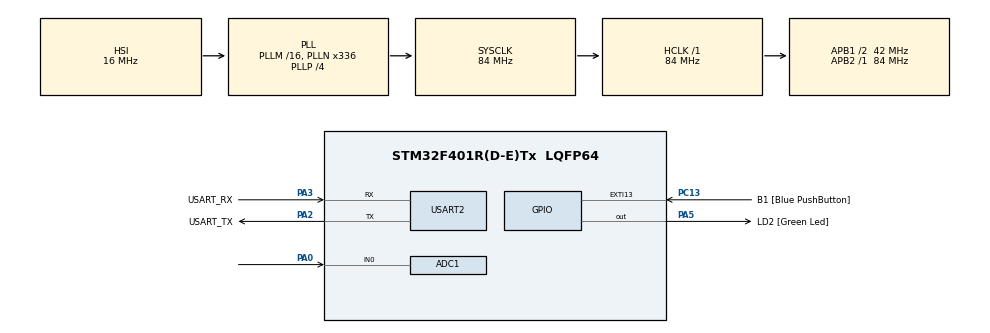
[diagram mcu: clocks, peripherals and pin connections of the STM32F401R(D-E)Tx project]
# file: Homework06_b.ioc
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ADC1.Channel-0\#ChannelRegularConversion=ADC_CHANNEL_0
ADC1.DMAContinuousRequests=ENABLE
ADC1.ExternalTrigConv=ADC_EXTERNALTRIGCONV_T2_TRGO
ADC1.NbrOfConversionFlag=1
ADC1.Rank-0\#ChannelRegularConversion=1
ADC1.SamplingTime-0\#ChannelRegularConversion=ADC_SAMPLETIME_480CYCLES
ADC1.master=1
Dma.ADC1.0.Direction=DMA_PERIPH_TO_MEMORY
Dma.ADC1.0.FIFOMode=DMA_FIFOMODE_DISABLE
Dma.ADC1.0.Instance=DMA2_Stream0
Dma.ADC1.0.MemDataAlignment=DMA_MDATAALIGN_HALFWORD
Dma.ADC1.0.MemInc=DMA_MINC_ENABLE
Dma.ADC1.0.Mode=DMA_CIRCULAR
Dma.ADC1.0.PeriphDataAlignment=DMA_PDATAALIGN_HALFWORD
Dma.ADC1.0.PeriphInc=DMA_PINC_DISABLE
Dma.ADC1.0.Priority=DMA_PRIORITY_LOW
Dma.Request0=ADC1
Dma.Request1=USART2_TX
Dma.USART2_TX.1.Direction=DMA_MEMORY_TO_PERIPH
Dma.USART2_TX.1.FIFOMode=DMA_FIFOMODE_DISABLE
Dma.USART2_TX.1.Instance=DMA1_Stream6
Dma.USART2_TX.1.MemDataAlignment=DMA_MDATAALIGN_BYTE
Dma.USART2_TX.1.MemInc=DMA_MINC_ENABLE
Dma.USART2_TX.1.Mode=DMA_NORMAL
Dma.USART2_TX.1.PeriphDataAlignment=DMA_PDATAALIGN_BYTE
Dma.USART2_TX.1.PeriphInc=DMA_PINC_DISABLE
Dma.USART2_TX.1.Priority=DMA_PRIORITY_LOW
Mcu.Family=STM32F4
Mcu.Name=STM32F401R(D-E)Tx
Mcu.Package=LQFP64
NVIC.ADC_IRQn=true\:0\:0\:false\:false\:true\:true\:true\:true
NVIC.DMA1_Stream6_IRQn=true\:0\:0\:false\:false\:true\:false\:true\:true
NVIC.DMA2_Stream0_IRQn=true\:0\:0\:false\:false\:true\:false\:true\:true
NVIC.PriorityGroup=NVIC_PRIORITYGROUP_4
NVIC.USART2_IRQn=true\:0\:0\:false\:false\:true\:true\:true\:true
PA0-WKUP.Signal=ADCx_IN0
PA13.GPIO_Label=TMS
PA13.Mode=Trace_Asynchronous_SW
PA13.Signal=SYS_JTMS-SWDIO
PA14.GPIO_Label=TCK
PA14.Mode=Trace_Asynchronous_SW
PA14.Signal=SYS_JTCK-SWCLK
PA2.GPIO_Label=USART_TX
PA2.GPIO_Mode=GPIO_MODE_AF_PP
PA2.GPIO_PuPd=GPIO_NOPULL
PA2.GPIO_Speed=GPIO_SPEED_FREQ_LOW
PA2.Mode=Asynchronous
PA2.Signal=USART2_TX
PA3.GPIO_Label=USART_RX
PA3.GPIO_Mode=GPIO_MODE_AF_PP
PA3.GPIO_PuPd=GPIO_NOPULL
PA3.GPIO_Speed=GPIO_SPEED_FREQ_LOW
PA3.Mode=Asynchronous
PA3.Signal=USART2_RX
PA5.GPIO_Label=LD2 [Green Led]
PA5.GPIO_Mode=GPIO_MODE_OUTPUT_PP
PA5.GPIO_PuPd=GPIO_NOPULL
PA5.GPIO_Speed=GPIO_SPEED_FREQ_LOW
PA5.Signal=GPIO_Output
PB3.GPIO_Label=SWO
PB3.Mode=Trace_Asynchronous_SW
PB3.Signal=SYS_JTDO-SWO
PC13-ANTI_TAMP.GPIO_Label=B1 [Blue PushButton]
PC13-ANTI_TAMP.GPIO_ModeDefaultEXTI=GPIO_MODE_IT_FALLING
PC13-ANTI_TAMP.GPIO_PuPd=GPIO_NOPULL
PC13-ANTI_TAMP.Signal=GPXTI13
PC14-OSC32_IN.Mode=LSE-External-Oscillator
PC14-OSC32_IN.Signal=RCC_OSC32_IN
PC15-OSC32_OUT.Mode=LSE-External-Oscillator
PC15-OSC32_OUT.Signal=RCC_OSC32_OUT
PH0\ -\ OSC_IN.Mode=HSE-External-Clock-Source
PH0\ -\ OSC_IN.Signal=RCC_OSC_IN
PH1\ -\ OSC_OUT.Mode=HSE-External-Clock-Source
PH1\ -\ OSC_OUT.Signal=RCC_OSC_OUT
ProjectManager.HeapSize=0x200
ProjectManager.StackSize=0x400
ProjectManager.TargetToolchain=STM32CubeIDE
RCC.48MHZClocksFreq_Value=48000000
RCC.AHBFreq_Value=84000000
RCC.APB1CLKDivider=RCC_HCLK_DIV2
RCC.APB1Freq_Value=42000000
RCC.APB1TimFreq_Value=84000000
RCC.APB2Freq_Value=84000000
RCC.APB2TimFreq_Value=84000000
RCC.CortexFreq_Value=84000000
RCC.HCLKFreq_Value=84000000
RCC.HSE_VALUE=8000000
RCC.HSI_VALUE=16000000
RCC.PLLN=336
RCC.PLLP=RCC_PLLP_DIV4
RCC.PLLQ=7
RCC.SYSCLKFreq_VALUE=84000000
RCC.SYSCLKSource=RCC_SYSCLKSOURCE_PLLCLK
RCC.VCOOutputFreq_Value=336000000
SH.ADCx_IN0.0=ADC1_IN0,IN0
TIM2.Period=9
TIM2.Prescaler=8399
TIM2.TIM_MasterOutputTrigger=TIM_TRGO_UPDATE
USART2.VirtualMode=VM_ASYNC
VP_TIM2_VS_ClockSourceINT.Mode=Internal
board=NUCLEO-F401RE

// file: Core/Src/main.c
/* USER CODE BEGIN Header */
/**
  ******************************************************************************
  * @file           : main.c
  * @brief          : Main program body
  ******************************************************************************
  * @attention
  *
  * Copyright (c) 2025 STMicroelectronics.
  * All rights reserved.
  *
  * This software is licensed under terms that can be found in the LICENSE file
  * in the root directory of this software component.
  * If no LICENSE file comes with this software, it is provided AS-IS.
  *
  ******************************************************************************
  */
/* USER CODE END Header */
#include "main.h"

/* USER CODE BEGIN Includes */
#include <math.h>
#include <stdio.h>

/* USER CODE END Includes */

/* USER CODE BEGIN PD */
#define VCC 3.3f
#define ADC_LEVELS 4096.0f
#define LENGTH 1000

/* USER CODE END PD */

ADC_HandleTypeDef hadc1;
DMA_HandleTypeDef hdma_adc1;

TIM_HandleTypeDef htim2;

UART_HandleTypeDef huart2;
DMA_HandleTypeDef hdma_usart2_tx;

void SystemClock_Config(void);
static void MX_GPIO_Init(void);
static void MX_DMA_Init(void);
static void MX_USART2_UART_Init(void);
static void MX_ADC1_Init(void);
static void MX_TIM2_Init(void);

/* USER CODE BEGIN 0 */
uint16_t buff[LENGTH];
float sum=0;

void HAL_ADC_ConvCpltCallback(ADC_HandleTypeDef *hadc){
	for(int i = LENGTH/2; i < LENGTH; i++){
		sum += buff[i];
	}

	float avg = sum / LENGTH;
	float voltage = avg * VCC / ADC_LEVELS;
	float ldr = (voltage * 100)/(VCC - voltage);
	float lux = 10 * pow((100 / ldr), 1.25);

	static char string[250];
	snprintf(string, sizeof(string), "The average value is: %.2f KOhm  and the lux value is: %.2f lm \r\n", ldr, lux);

	HAL_UART_Transmit_DMA(&huart2, (uint8_t *)string, sizeof(string));

	sum = 0;
}

void HAL_ADC_ConvHalfCpltCallback(ADC_HandleTypeDef *hadc){
	for(int i = 0; i < LENGTH/2; i++){
		sum += buff[i];
	}
}

/* USER CODE END 0 */

int main(void)
{

  /* MCU Configuration--------------------------------------------------------*/

  /* Reset of all peripherals, Initializes the Flash interface and the Systick. */
  HAL_Init();

  /* Configure the system clock */
  SystemClock_Config();

  /* Initialize all configured peripherals */
  MX_GPIO_Init();
  MX_DMA_Init();
  MX_USART2_UART_Init();
  MX_ADC1_Init();
  MX_TIM2_Init();
  /* USER CODE BEGIN 2 */
  HAL_TIM_Base_Start(&htim2);
  HAL_ADC_Start_DMA(&hadc1, (uint32_t *)buff, LENGTH);

  /* USER CODE END 2 */

  /* Infinite loop */
  while (1)
  {

  }
}

void SystemClock_Config(void)
{
  RCC_OscInitTypeDef RCC_OscInitStruct = {0};
  RCC_ClkInitTypeDef RCC_ClkInitStruct = {0};

  /** Configure the main internal regulator output voltage
  */
  __HAL_RCC_PWR_CLK_ENABLE();
  __HAL_PWR_VOLTAGESCALING_CONFIG(PWR_REGULATOR_VOLTAGE_SCALE2);

  /** Initializes the RCC Oscillators according to the specified parameters
  * in the RCC_OscInitTypeDef structure.
  */
  RCC_OscInitStruct.OscillatorType = RCC_OSCILLATORTYPE_HSI;
  RCC_OscInitStruct.HSIState = RCC_HSI_ON;
  RCC_OscInitStruct.HSICalibrationValue = RCC_HSICALIBRATION_DEFAULT;
  RCC_OscInitStruct.PLL.PLLState = RCC_PLL_ON;
  RCC_OscInitStruct.PLL.PLLSource = RCC_PLLSOURCE_HSI;
  RCC_OscInitStruct.PLL.PLLM = 16;
  RCC_OscInitStruct.PLL.PLLN = 336;
  RCC_OscInitStruct.PLL.PLLP = RCC_PLLP_DIV4;
  RCC_OscInitStruct.PLL.PLLQ = 7;
  if (HAL_RCC_OscConfig(&RCC_OscInitStruct) != HAL_OK)
  {
    Error_Handler();
  }

  /** Initializes the CPU, AHB and APB buses clocks
  */
  RCC_ClkInitStruct.ClockType = RCC_CLOCKTYPE_HCLK|RCC_CLOCKTYPE_SYSCLK
                              |RCC_CLOCKTYPE_PCLK1|RCC_CLOCKTYPE_PCLK2;
  RCC_ClkInitStruct.SYSCLKSource = RCC_SYSCLKSOURCE_PLLCLK;
  RCC_ClkInitStruct.AHBCLKDivider = RCC_SYSCLK_DIV1;
  RCC_ClkInitStruct.APB1CLKDivider = RCC_HCLK_DIV2;
  RCC_ClkInitStruct.APB2CLKDivider = RCC_HCLK_DIV1;

  if (HAL_RCC_ClockConfig(&RCC_ClkInitStruct, FLASH_LATENCY_2) != HAL_OK)
  {
    Error_Handler();
  }
}

static void MX_ADC1_Init(void)
{

  ADC_ChannelConfTypeDef sConfig = {0};

  /** Configure the global features of the ADC (Clock, Resolution, Data Alignment and number of conversion)
  */
  hadc1.Instance = ADC1;
  hadc1.Init.ClockPrescaler = ADC_CLOCK_SYNC_PCLK_DIV4;
  hadc1.Init.Resolution = ADC_RESOLUTION_12B;
  hadc1.Init.ScanConvMode = DISABLE;
  hadc1.Init.ContinuousConvMode = DISABLE;
  hadc1.Init.DiscontinuousConvMode = DISABLE;
  hadc1.Init.ExternalTrigConvEdge = ADC_EXTERNALTRIGCONVEDGE_RISING;
  hadc1.Init.ExternalTrigConv = ADC_EXTERNALTRIGCONV_T2_TRGO;
  hadc1.Init.DataAlign = ADC_DATAALIGN_RIGHT;
  hadc1.Init.NbrOfConversion = 1;
  hadc1.Init.DMAContinuousRequests = ENABLE;
  hadc1.Init.EOCSelection = ADC_EOC_SINGLE_CONV;
  if (HAL_ADC_Init(&hadc1) != HAL_OK)
  {
    Error_Handler();
  }

  /** Configure for the selected ADC regular channel its corresponding rank in the sequencer and its sample time.
  */
  sConfig.Channel = ADC_CHANNEL_0;
  sConfig.Rank = 1;
  sConfig.SamplingTime = ADC_SAMPLETIME_480CYCLES;
  if (HAL_ADC_ConfigChannel(&hadc1, &sConfig) != HAL_OK)
  {
    Error_Handler();
  }

}

static void MX_TIM2_Init(void)
{

  TIM_ClockConfigTypeDef sClockSourceConfig = {0};
  TIM_MasterConfigTypeDef sMasterConfig = {0};

  htim2.Instance = TIM2;
  htim2.Init.Prescaler = 8399;
  htim2.Init.CounterMode = TIM_COUNTERMODE_UP;
  htim2.Init.Period = 9;
  htim2.Init.ClockDivision = TIM_CLOCKDIVISION_DIV1;
  htim2.Init.AutoReloadPreload = TIM_AUTORELOAD_PRELOAD_DISABLE;
  if (HAL_TIM_Base_Init(&htim2) != HAL_OK)
  {
    Error_Handler();
  }
  sClockSourceConfig.ClockSource = TIM_CLOCKSOURCE_INTERNAL;
  if (HAL_TIM_ConfigClockSource(&htim2, &sClockSourceConfig) != HAL_OK)
  {
    Error_Handler();
  }
  sMasterConfig.MasterOutputTrigger = TIM_TRGO_UPDATE;
  sMasterConfig.MasterSlaveMode = TIM_MASTERSLAVEMODE_DISABLE;
  if (HAL_TIMEx_MasterConfigSynchronization(&htim2, &sMasterConfig) != HAL_OK)
  {
    Error_Handler();
  }

}

static void MX_USART2_UART_Init(void)
{

  huart2.Instance = USART2;
  huart2.Init.BaudRate = 115200;
  huart2.Init.WordLength = UART_WORDLENGTH_8B;
  huart2.Init.StopBits = UART_STOPBITS_1;
  huart2.Init.Parity = UART_PARITY_NONE;
  huart2.Init.Mode = UART_MODE_TX_RX;
  huart2.Init.HwFlowCtl = UART_HWCONTROL_NONE;
  huart2.Init.OverSampling = UART_OVERSAMPLING_16;
  if (HAL_UART_Init(&huart2) != HAL_OK)
  {
    Error_Handler();
  }

}

static void MX_DMA_Init(void)
{

  /* DMA controller clock enable */
  __HAL_RCC_DMA2_CLK_ENABLE();
  __HAL_RCC_DMA1_CLK_ENABLE();

  /* DMA interrupt init */
  /* DMA1_Stream6_IRQn interrupt configuration */
  HAL_NVIC_SetPriority(DMA1_Stream6_IRQn, 0, 0);
  HAL_NVIC_EnableIRQ(DMA1_Stream6_IRQn);
  /* DMA2_Stream0_IRQn interrupt configuration */
  HAL_NVIC_SetPriority(DMA2_Stream0_IRQn, 0, 0);
  HAL_NVIC_EnableIRQ(DMA2_Stream0_IRQn);

}

static void MX_GPIO_Init(void)
{
  GPIO_InitTypeDef GPIO_InitStruct = {0};

  /* GPIO Ports Clock Enable */
  __HAL_RCC_GPIOC_CLK_ENABLE();
  __HAL_RCC_GPIOH_CLK_ENABLE();
  __HAL_RCC_GPIOA_CLK_ENABLE();
  __HAL_RCC_GPIOB_CLK_ENABLE();

  /*Configure GPIO pin Output Level */
  HAL_GPIO_WritePin(LD2_GPIO_Port, LD2_Pin, GPIO_PIN_RESET);

  /*Configure GPIO pin : B1_Pin */
  GPIO_InitStruct.Pin = B1_Pin;
  GPIO_InitStruct.Mode = GPIO_MODE_IT_FALLING;
  GPIO_InitStruct.Pull = GPIO_NOPULL;
  HAL_GPIO_Init(B1_GPIO_Port, &GPIO_InitStruct);

  /*Configure GPIO pin : LD2_Pin */
  GPIO_InitStruct.Pin = LD2_Pin;
  GPIO_InitStruct.Mode = GPIO_MODE_OUTPUT_PP;
  GPIO_InitStruct.Pull = GPIO_NOPULL;
  GPIO_InitStruct.Speed = GPIO_SPEED_FREQ_LOW;
  HAL_GPIO_Init(LD2_GPIO_Port, &GPIO_InitStruct);

}

void Error_Handler(void)
{
  __disable_irq();
  while (1)
  {
  }
}
